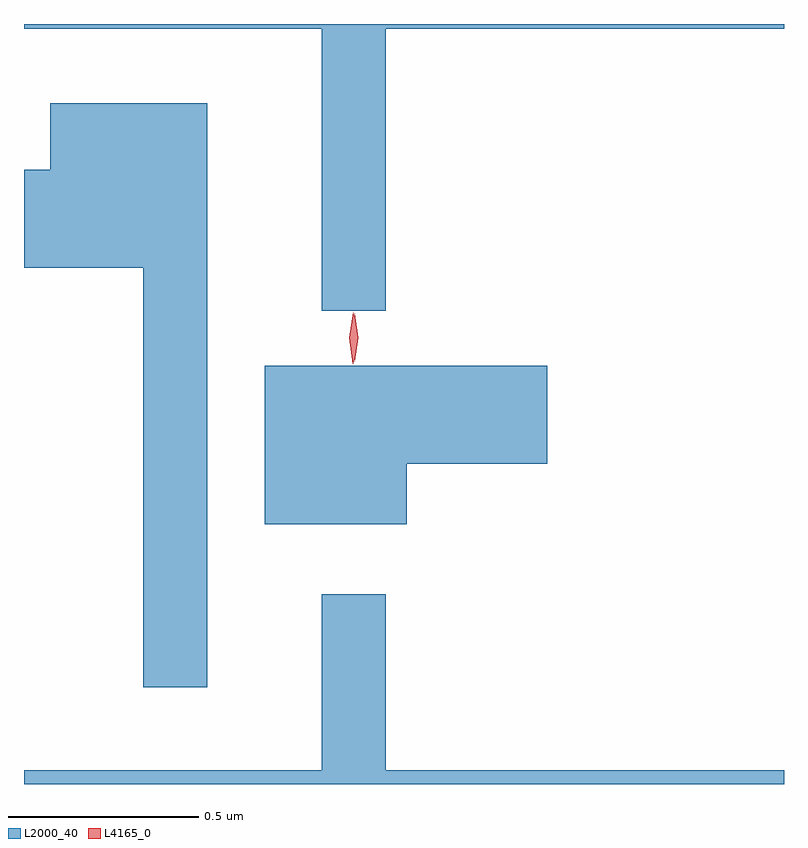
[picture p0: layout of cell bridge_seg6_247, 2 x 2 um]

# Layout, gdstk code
import gdstk
lib = gdstk.Library(unit=1e-6, precision=1e-09)
def P(c, l, *ps):  # polygons
    for p in ps: c.add(gdstk.Polygon(p, *l))
L2000_40 = (2000, 40)
L4165_0 = (4165, 0)

bridge_seg6_247 = lib.new_cell('bridge_seg6_247')
P(bridge_seg6_247, L2000_40, [(1135.999,1545.596),(1137.047,1545.596),(1137.047,1545.608),(1135.047,1545.608),(1135.047,1545.596),(1135.831,1545.596),(1135.831,1544.853),(1135.999,1544.853)],
  [(1135.529,1545.399),(1135.116,1545.399),(1135.116,1545.224),(1135.047,1545.224),(1135.047,1544.966),(1135.361,1544.966),(1135.361,1543.863),(1135.529,1543.863)],
  [(1136.054,1544.451),(1136.424,1544.451),(1136.424,1544.709),(1135.681,1544.709),(1135.681,1544.291),(1136.054,1544.291)],
  [(1137.047,1543.644),(1135.999,1543.644),(1135.999,1544.108),(1135.831,1544.108),(1135.831,1543.644),(1135.047,1543.644),(1135.047,1543.608),(1137.047,1543.608)])
P(bridge_seg6_247, L4165_0, [(1135.912,1544.714),(1135.912,1544.714),(1135.903,1544.782),(1135.914,1544.85),(1135.914,1544.85),(1135.914,1544.85),(1135.923,1544.782),(1135.913,1544.714)],
  [(1135.917,1544.72),(1135.917,1544.72),(1135.907,1544.783),(1135.917,1544.846),(1135.917,1544.847),(1135.918,1544.846),(1135.927,1544.783),(1135.918,1544.72)])

lib.write_gds('bridge_seg6_247.gds')
